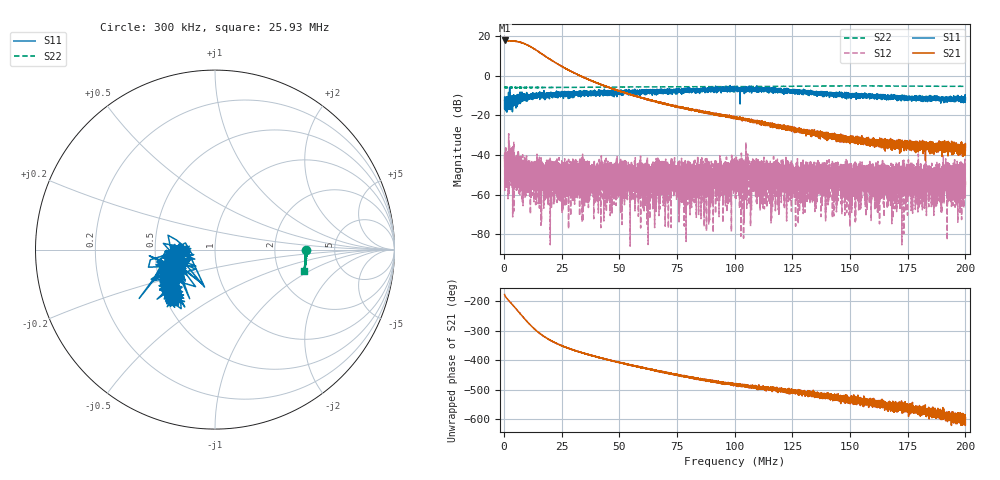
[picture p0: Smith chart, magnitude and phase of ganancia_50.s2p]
# Hz S DB R 50
! CMT, M5065, 19127446, 24.2.4/2
! Date: 11/8/2024 5:22:26 PM
! Data: Format (Calibration Info)
! Freq	S11:dB/Ang(F2)	S21:dB/Ang(F2)	S12:dB/Ang(F2)	S22:dB/Ang(F2)
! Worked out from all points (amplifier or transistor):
!   9000 points, 300 kHz to 200 MHz, reference 50 ohm
!   highest |S21| = 17.9 dB at 388.8 kHz (marker M1)
!   |S21| within 3 dB of that: start of sweep to 11.28 MHz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
!   unconditionally stable (mu >= 1): start of sweep to end of sweep
!   at 33.59 MHz: K = 357.70, MAG = 1.6 dB, |S12| = -60.6 dB
!   at 100.2 MHz: K = 2123.38, MAG = -18.2 dB, |S12| = -56.8 dB
!   at 200 MHz: K = 14090.19, MAG = -35.9 dB, |S12| = -54.9 dB
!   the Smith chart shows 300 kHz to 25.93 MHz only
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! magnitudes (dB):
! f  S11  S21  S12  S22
! 300 kHz  -12.2  17.8  -43.2  -5.9
! 388.8 kHz  -13.5  17.9  -47.3  -5.7
! 9.132 MHz  -11.0  16.2  -46.3  -5.9
! 33.59 MHz  -9.1  -0.3  -60.6  -5.8
! 66.87 MHz  -8.4  -13.4  -53.4  -5.5
! 85.8 MHz  -7.6  -17.8  -62.6  -5.5
! 90.04 MHz  -6.1  -18.9  -51.9  -5.5
! 100.2 MHz  -7.0  -20.6  -56.8  -5.4
! 114.7 MHz  -7.2  -24.4  -51.6  -5.4
! 115.7 MHz  -6.8  -25.5  -44.2  -5.4
! 121.4 MHz  -7.1  -26.2  -48.0  -5.3
! 125.6 MHz  -8.8  -27.3  -52.5  -5.2
! 133.4 MHz  -9.1  -28.3  -45.6  -5.1
! 143.4 MHz  -8.9  -31.0  -61.1  -5.1
! 145.4 MHz  -10.0  -30.9  -49.3  -5.1
! 150 MHz  -9.1  -31.1  -56.6  -5.1
! 164.4 MHz  -11.4  -32.4  -46.9  -5.1
! 166.7 MHz  -11.6  -33.0  -51.9  -5.1
! 179.9 MHz  -11.0  -34.8  -64.0  -5.2
! 182.1 MHz  -11.0  -35.9  -47.8  -5.2
! 190.9 MHz  -11.4  -36.3  -45.3  -5.2
! 200 MHz  -12.0  -37.7  -54.9  -5.3
